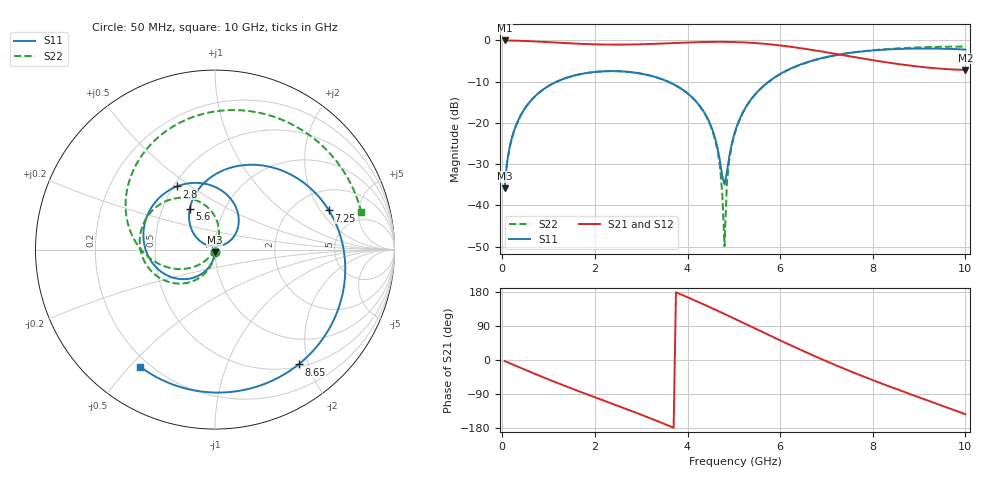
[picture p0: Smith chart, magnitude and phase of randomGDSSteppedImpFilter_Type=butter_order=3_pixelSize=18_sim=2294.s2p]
! freq	dB(S11)	phase(S11)	dB(S12)	phase(S12)
!  dB(S21)	phase(S21)	dB(S22)	phase(S22)
!S-par simulation data
#  GHz  S  DB  R 50
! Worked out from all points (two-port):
!   200 points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, 50 MHz to 10 GHz, reference 50 ohm
!   highest |S21| = -0.01 dB at 50 MHz (marker M1); lowest = -7.1 dB at 10 GHz (marker M2)
!   |S21| within 3 dB of the highest: start of sweep to 7.068 GHz
!   lowest |S11| = -35.8 dB at 50 MHz (marker M3), VSWR 1.03, Z = 49.9 - j1.61 ohm
!   |S11| at or under -10 dB: start of sweep to 1.175 GHz; 3.583 GHz to 5.751 GHz (2.168 GHz wide, 46.5 % of centre)
!   |S22| runs from -49.9 to -1.5 dB; largest |S21 - S12| = 0
!   S11 on the Smith chart (normalised r, x): 50 MHz: 1.00, -0.03; 2.8 GHz: 0.52, +0.44; 5.6 GHz: 0.69, +0.34; 7.25 GHz: 3.04, +2.41; 8.65 GHz: 0.54, -1.84; 10 GHz: 0.16, -0.54
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0.05  -35.85 -92.6  -0.01 -2.7  -0.01 -2.7  -35.85 -92.2
0.2  -23.93 -101.7  -0.03 -10.6  -0.03 -10.6  -23.93 -100.1
0.5  -16.27 -118.7  -0.14 -26.1  -0.14 -26.1  -16.27 -114.6
1.1  -10.41 -151.4  -0.48 -56.2  -0.48 -56.2  -10.40 -142.2
1.75  -8.03 174.9  -0.85 -86.9  -0.85 -86.9  -8.02 -169.9
2.8  -7.72 121.2  -0.98 -135.0  -0.98 -135.0  -7.72 148.0
3.4  -9.20 89.0  -0.78 -163.7  -0.78 -163.7  -9.21 123.5
4.1  -13.80 49.6  -0.47 160.3  -0.47 160.3  -13.85 93.4
4.5  -20.57 30.0  -0.36 138.4  -0.36 138.4  -20.77 75.5
4.7  -29.17 36.5  -0.34 127.1  -0.34 127.1  -30.55 67.3
4.75  -32.91 54.8  -0.34 124.2  -0.34 124.2  -37.23 67.2
4.8  -34.92 95.7  -0.35 121.4  -0.35 121.4  -49.86 163.8
4.85  -31.91 132.1  -0.35 118.5  -0.35 118.5  -34.59 -124.0
5.05  -21.28 151.1  -0.40 107.0  -0.40 107.0  -21.45 -131.4
5.6  -11.43 121.6  -0.76 74.9  -0.76 74.9  -11.49 -157.2
6.15  -7.23 86.2  -1.42 43.2  -1.42 43.2  -7.30 176.8
6.7  -4.87 51.5  -2.32 12.6  -2.32 12.6  -4.93 151.4
7.25  -3.46 19.0  -3.36 -16.3  -3.36 -16.3  -3.50 126.7
8.35  -2.17 -39.3  -5.40 -69.4  -5.40 -69.4  -2.06 79.7
8.65  -2.03 -54.0  -5.88 -83.0  -5.88 -83.0  -1.85 67.4
9.35  -1.97 -88.0  -6.74 -113.9  -6.74 -113.9  -1.57 39.5
10  -2.22 -122.4  -7.15 -143.1  -7.15 -143.1  -1.50 14.6
